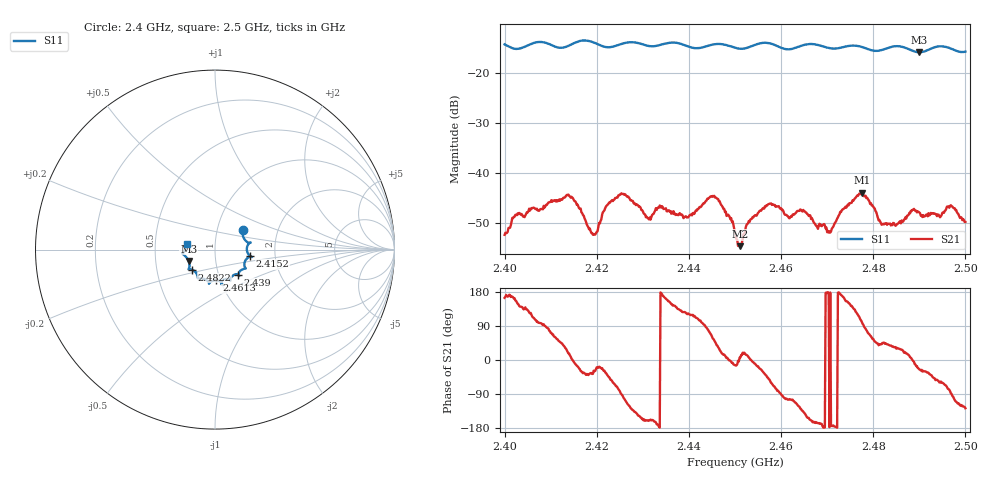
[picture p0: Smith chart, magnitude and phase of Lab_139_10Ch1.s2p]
# Hz S RI R 50
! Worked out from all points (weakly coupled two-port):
!   601 points, 2.4 GHz to 2.5 GHz, reference 50 ohm
!   highest |S21| = -43.95 dB at 2.4775 GHz (marker M1); lowest = -54.6 dB at 2.4512 GHz (marker M2)
!   lowest |S11| = -15.9 dB at 2.49 GHz (marker M3), VSWR 1.38, Z = 36.9 - j4.84 ohm
!   |S11| at or under -10 dB: start of sweep to end of sweep
!   S12 and S22 are empty: the file has one direction only
!   S11 on the Smith chart (normalised r, x): 2.4 GHz: 1.33, +0.31; 2.4152 GHz: 1.48, -0.11; 2.439 GHz: 1.24, -0.36; 2.4613 GHz: 0.96, -0.34; 2.4822 GHz: 0.76, -0.17; 2.5 GHz: 0.72, +0.05
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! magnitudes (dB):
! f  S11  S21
! 2.4 GHz  -14.3  -52.3
! 2.4028 GHz  -15.3  -48.1
! 2.4152 GHz  -14.1  -45.6
! 2.4167 GHz  -13.6  -47.8
! 2.4193 GHz  -14.0  -52.2
! 2.4252 GHz  -14.3  -44.3
! 2.4312 GHz  -14.7  -49.1
! 2.4333 GHz  -14.6  -46.9
! 2.439 GHz  -14.5  -48.8
! 2.4453 GHz  -14.4  -44.7
! 2.45 GHz  -15.0  -51.8
! 2.4512 GHz  -15.2  -54.6
! 2.457 GHz  -14.0  -46.5
! 2.4613 GHz  -15.3  -48.5
! 2.4667 GHz  -14.3  -49.0
! 2.4705 GHz  -15.1  -51.6
! 2.4775 GHz  -14.9  -44.0
! 2.4822 GHz  -15.4  -50.1
! 2.4833 GHz  -15.0  -50.1
! 2.49 GHz  -15.9  -47.9
! 2.4967 GHz  -15.1  -46.6
! 2.5 GHz  -15.8  -49.8
